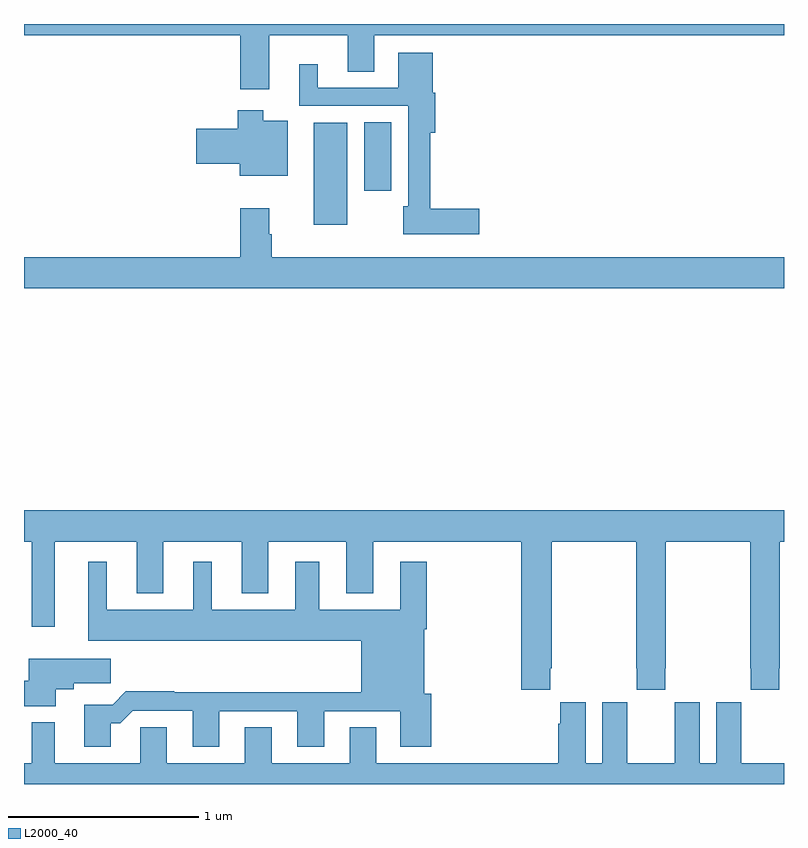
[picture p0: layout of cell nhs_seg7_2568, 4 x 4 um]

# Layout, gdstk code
import gdstk
lib = gdstk.Library(unit=1e-6, precision=1e-09)
def R(c, l, rs):  # rectangles x0, y0, x1, y1
    for r in rs: c.add(gdstk.rectangle(r[:2], r[2:], *l))
def P(c, l, *ps):  # polygons
    for p in ps: c.add(gdstk.Polygon(p, *l))
L2000_40 = (2000, 40)

nhs_seg7_2568 = lib.new_cell('nhs_seg7_2568')
R(nhs_seg7_2568, L2000_40, [(280.526,1008.944,280.702,1009.48), (280.79,1009.122,280.933,1009.484)])
P(nhs_seg7_2568, L2000_40, [(280.291,1009.94),(280.703,1009.94),(280.703,1009.75),(280.843,1009.75),(280.843,1009.94),(283,1009.94),(283,1010),(279,1010),(279,1009.94),(280.139,1009.94),(280.139,1009.656),(280.291,1009.656)],
  [(281.395,1009.028),(281.138,1009.028),(281.138,1009.427),(281.165,1009.427),(281.165,1009.638),(281.152,1009.638),(281.152,1009.849),(280.97,1009.849),(280.97,1009.665),(280.546,1009.665),(280.546,1009.789),(280.448,1009.789),(280.448,1009.569),(281.022,1009.569),(281.022,1009.041),(280.996,1009.041),(280.996,1008.893),(281.395,1008.893)],
  [(280.387,1009.492),(280.258,1009.492),(280.258,1009.546),(280.124,1009.546),(280.124,1009.448),(279.906,1009.448),(279.906,1009.265),(280.136,1009.265),(280.136,1009.202),(280.387,1009.202)],
  [(283,1008.772),(280.304,1008.772),(280.304,1008.893),(280.291,1008.893),(280.291,1009.03),(280.139,1009.03),(280.139,1008.772),(279,1008.772),(279,1008.608),(283,1008.608)],
  [(281.771,1006.609),(281.778,1006.609),(281.778,1007.276),(282.223,1007.276),(282.223,1006.609),(282.225,1006.609),(282.225,1006.497),(282.375,1006.497),(282.375,1006.609),(282.378,1006.609),(282.378,1007.276),(282.823,1007.276),(282.823,1006.609),(282.825,1006.609),(282.825,1006.497),(282.975,1006.497),(282.975,1006.609),(282.978,1006.609),(282.978,1007.276),(283,1007.276),(283,1007.44),(279,1007.44),(279,1007.276),(279.042,1007.276),(279.042,1006.827),(279.163,1006.827),(279.163,1007.276),(279.593,1007.276),(279.593,1007.003),(279.733,1007.003),(279.733,1007.276),(280.145,1007.276),(280.145,1007.003),(280.285,1007.003),(280.285,1007.276),(280.697,1007.276),(280.697,1007.003),(280.837,1007.003),(280.837,1007.276),(281.618,1007.276),(281.618,1006.497),(281.771,1006.497)],
  [(279.457,1006.319),(279.506,1006.319),(279.573,1006.386),(279.887,1006.386),(279.887,1006.197),(280.027,1006.197),(280.027,1006.383),(280.439,1006.383),(280.439,1006.197),(280.579,1006.197),(280.579,1006.383),(280.979,1006.383),(280.979,1006.197),(281.144,1006.197),(281.144,1006.476),(281.107,1006.476),(281.107,1006.814),(281.12,1006.814),(281.12,1007.17),(280.979,1007.17),(280.979,1006.918),(280.555,1006.918),(280.555,1007.17),(280.427,1007.17),(280.427,1006.918),(279.988,1006.918),(279.988,1007.17),(279.89,1007.17),(279.89,1006.918),(279.436,1006.918),(279.436,1007.17),(279.338,1007.17),(279.338,1006.754),(280.775,1006.754),(280.775,1006.484),(279.791,1006.484),(279.791,1006.487),(279.536,1006.487),(279.466,1006.417),(279.317,1006.417),(279.317,1006.197),(279.457,1006.197)],
  [(279.166,1006.499),(279.262,1006.499),(279.262,1006.531),(279.457,1006.531),(279.457,1006.66),(279.026,1006.66),(279.026,1006.544),(279,1006.544),(279,1006.409),(279.166,1006.409)],
  [(283,1006.108),(282.775,1006.108),(282.775,1006.316),(282.774,1006.316),(282.774,1006.429),(282.644,1006.429),(282.644,1006.108),(282.556,1006.108),(282.556,1006.429),(282.426,1006.429),(282.426,1006.316),(282.425,1006.316),(282.425,1006.108),(282.175,1006.108),(282.175,1006.316),(282.174,1006.316),(282.174,1006.429),(282.044,1006.429),(282.044,1006.108),(281.956,1006.108),(281.956,1006.429),(281.822,1006.429),(281.822,1006.316),(281.813,1006.316),(281.813,1006.108),(280.855,1006.108),(280.855,1006.298),(280.715,1006.298),(280.715,1006.108),(280.303,1006.108),(280.303,1006.298),(280.163,1006.298),(280.163,1006.108),(279.751,1006.108),(279.751,1006.298),(279.612,1006.298),(279.612,1006.108),(279.163,1006.108),(279.163,1006.324),(279.042,1006.324),(279.042,1006.108),(279,1006.108),(279,1006),(283,1006)])

lib.write_gds('nhs_seg7_2568.gds')
